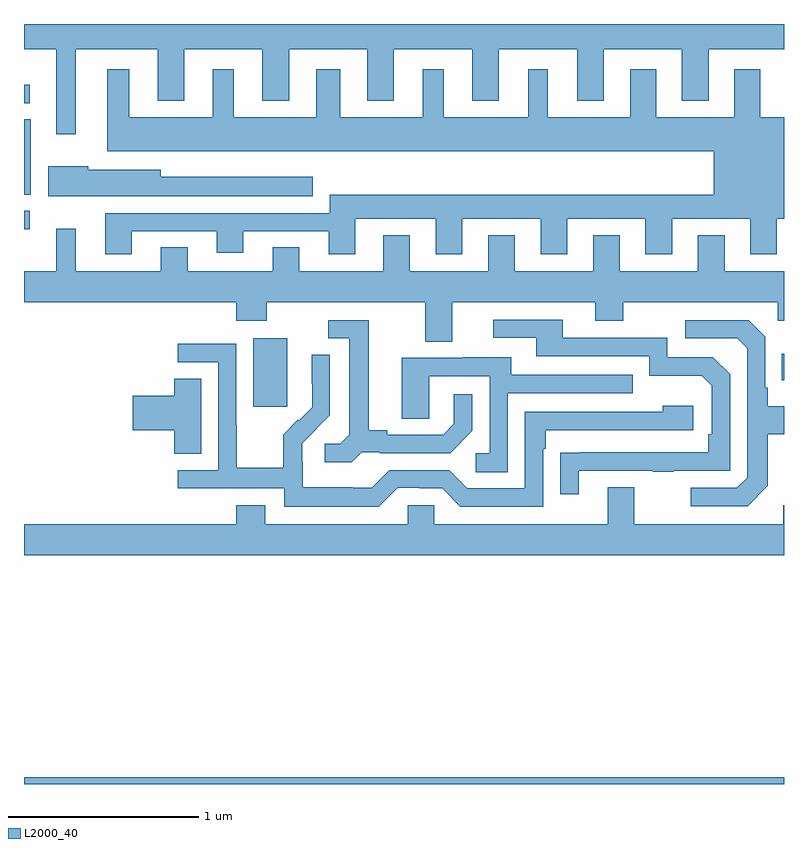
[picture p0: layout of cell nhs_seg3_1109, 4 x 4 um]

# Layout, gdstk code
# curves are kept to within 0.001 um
import gdstk
lib = gdstk.Library(unit=1e-6, precision=1e-09)
def R(c, l, rs):  # rectangles x0, y0, x1, y1
    for r in rs: c.add(gdstk.rectangle(r[:2], r[2:], *l))
def P(c, l, *ps):  # polygons
    for p in ps: c.add(gdstk.Polygon(p, *l))
L2000_40 = (2000, 40)

nhs_seg3_1109 = lib.new_cell('nhs_seg3_1109')
R(nhs_seg3_1109, L2000_40, [(169,678.4,173,678.436), (170.207,680.385,170.386,680.746), (172.987,680.525,173,680.665), (169,681.319,169.03,681.417), (169,681.502,169.036,681.899), (169,681.984,169.03,682.08)])
P(nhs_seg3_1109, L2000_40, [(169.273,682.268),(169.703,682.268),(169.703,681.995),(169.843,681.995),(169.843,682.268),(170.255,682.268),(170.255,681.995),(170.395,681.995),(170.395,682.268),(170.807,682.268),(170.807,681.995),(170.947,681.995),(170.947,682.268),(171.359,682.268),(171.359,681.995),(171.499,681.995),(171.499,682.268),(171.911,682.268),(171.911,681.995),(172.051,681.995),(172.051,682.268),(172.463,682.268),(172.463,681.995),(172.603,681.995),(172.603,682.268),(173,682.268),(173,682.4),(169,682.4),(169,682.268),(169.169,682.268),(169.169,681.819),(169.273,681.819)],
  [(169.567,681.309),(170.015,681.309),(170.015,681.197),(170.155,681.197),(170.155,681.309),(170.603,681.309),(170.603,681.189),(170.743,681.189),(170.743,681.374),(171.167,681.374),(171.167,681.189),(171.307,681.189),(171.307,681.374),(171.719,681.374),(171.719,681.189),(171.859,681.189),(171.859,681.374),(172.271,681.374),(172.271,681.189),(172.411,681.189),(172.411,681.374),(172.823,681.374),(172.823,681.189),(172.963,681.189),(172.963,681.374),(173,681.374),(173,681.91),(172.876,681.91),(172.876,682.162),(172.739,682.162),(172.739,681.91),(172.327,681.91),(172.327,682.162),(172.19,682.162),(172.19,681.91),(171.757,681.91),(171.757,682.162),(171.653,682.162),(171.653,681.91),(171.208,681.91),(171.208,682.162),(171.098,682.162),(171.098,681.91),(170.665,681.91),(170.665,682.162),(170.537,682.162),(170.537,681.91),(170.104,681.91),(170.104,682.162),(169.994,682.162),(169.994,681.91),(169.555,681.91),(169.555,682.162),(169.439,682.162),(169.439,681.731),(172.631,681.731),(172.631,681.502),(170.609,681.502),(170.609,681.405),(169.427,681.405),(169.427,681.189),(169.567,681.189)],
  [(170.521,681.595),(169.72,681.595),(169.72,681.634),(169.338,681.634),(169.338,681.652),(169.128,681.652),(169.128,681.494),(170.521,681.494)],
  [(170.117,680.837),(170.277,680.837),(170.277,680.936),(171.113,680.936),(171.113,680.728),(171.253,680.728),(171.253,680.936),(172.007,680.936),(172.007,680.837),(172.155,680.837),(172.155,680.936),(172.968,680.936),(172.968,680.837),(173,680.837),(173,681.1),(172.687,681.1),(172.687,681.289),(172.547,681.289),(172.547,681.1),(172.135,681.1),(172.135,681.289),(171.995,681.289),(171.995,681.1),(171.583,681.1),(171.583,681.289),(171.443,681.289),(171.443,681.1),(171.031,681.1),(171.031,681.289),(170.891,681.289),(170.891,681.1),(170.449,681.1),(170.449,681.224),(170.309,681.224),(170.309,681.1),(169.861,681.1),(169.861,681.224),(169.721,681.224),(169.721,681.1),(169.273,681.1),(169.273,681.322),(169.169,681.322),(169.169,681.1),(169,681.1),(169,680.936),(170.117,680.936)],
  [(171.919,680.049),(172.309,680.049),(172.309,680.044),(172.421,680.044),(172.421,680.049),(172.716,680.049),(172.716,680.556),(172.626,680.646),(172.386,680.646),(172.386,680.748),(171.835,680.748),(171.835,680.844),(171.471,680.844),(171.471,680.748),(171.695,680.748),(171.695,680.652),(172.29,680.652),(172.29,680.549),(172.567,680.549),(172.62,680.496),(172.62,680.242),(172.6,680.242),(172.6,680.145),(171.823,680.144),(171.823,679.926),(171.919,679.926)],
  [(172.915,679.969),(172.915,680.242),(173,680.242),(173,680.389),(172.915,680.389),(172.915,680.485),(172.902,680.485),(172.902,680.754),(172.815,680.841),(172.479,680.841),(172.479,680.745),(172.755,680.745),(172.806,680.694),(172.806,680.013),(172.752,679.959),(172.509,679.959),(172.509,679.863),(172.809,679.863)],
  [(170.778,680.145),(170.872,680.145),(170.872,680.142),(171.244,680.142),(171.36,680.258),(171.36,680.452),(171.263,680.452),(171.263,680.295),(171.206,680.238),(170.911,680.238),(170.911,680.261),(170.815,680.261),(170.815,680.841),(170.601,680.841),(170.601,680.745),(170.711,680.745),(170.711,680.237),(170.664,680.19),(170.583,680.19),(170.583,680.093),(170.726,680.093)],
  [(170.967,679.959),(171.083,679.959),(171.083,679.956),(171.201,679.956),(171.297,679.86),(171.732,679.86),(171.732,680.165),(171.745,680.165),(171.745,680.262),(172.522,680.262),(172.522,680.392),(172.361,680.392),(172.361,680.358),(171.636,680.358),(171.636,679.956),(171.333,679.956),(171.237,680.052),(170.922,680.052),(170.829,679.959),(170.729,679.959),(170.729,679.963),(170.466,679.963),(170.466,680.097),(170.464,680.097),(170.464,680.194),(170.61,680.342),(170.61,680.66),(170.514,680.66),(170.514,680.506),(170.516,680.506),(170.516,680.384),(170.445,680.313),(170.442,680.316),(170.365,680.239),(170.365,680.065),(170.121,680.065),(170.121,680.288),(170.118,680.288),(170.118,680.718),(169.809,680.718),(169.809,680.619),(170.022,680.619),(170.022,680.052),(169.809,680.052),(169.809,679.956),(170.37,679.956),(170.37,679.859),(170.867,679.859)],
  [(171.546,680.457),(172.205,680.457),(172.205,680.553),(171.565,680.553),(171.565,680.647),(171.311,680.647),(171.311,680.643),(170.987,680.643),(170.987,680.323),(171.132,680.323),(171.132,680.547),(171.45,680.547),(171.45,680.142),(171.378,680.142),(171.378,680.041),(171.546,680.041)],
  [(169.933,680.534),(169.79,680.534),(169.79,680.444),(169.572,680.444),(169.572,680.261),(169.79,680.261),(169.79,680.137),(169.933,680.137)],
  [(173,679.867),(172.997,679.867),(172.997,679.768),(172.213,679.768),(172.213,679.963),(172.073,679.963),(172.073,679.768),(171.159,679.768),(171.159,679.866),(171.021,679.866),(171.021,679.768),(170.269,679.768),(170.269,679.867),(170.117,679.867),(170.117,679.768),(169,679.768),(169,679.604),(173,679.604)])

lib.write_gds('nhs_seg3_1109.gds')
